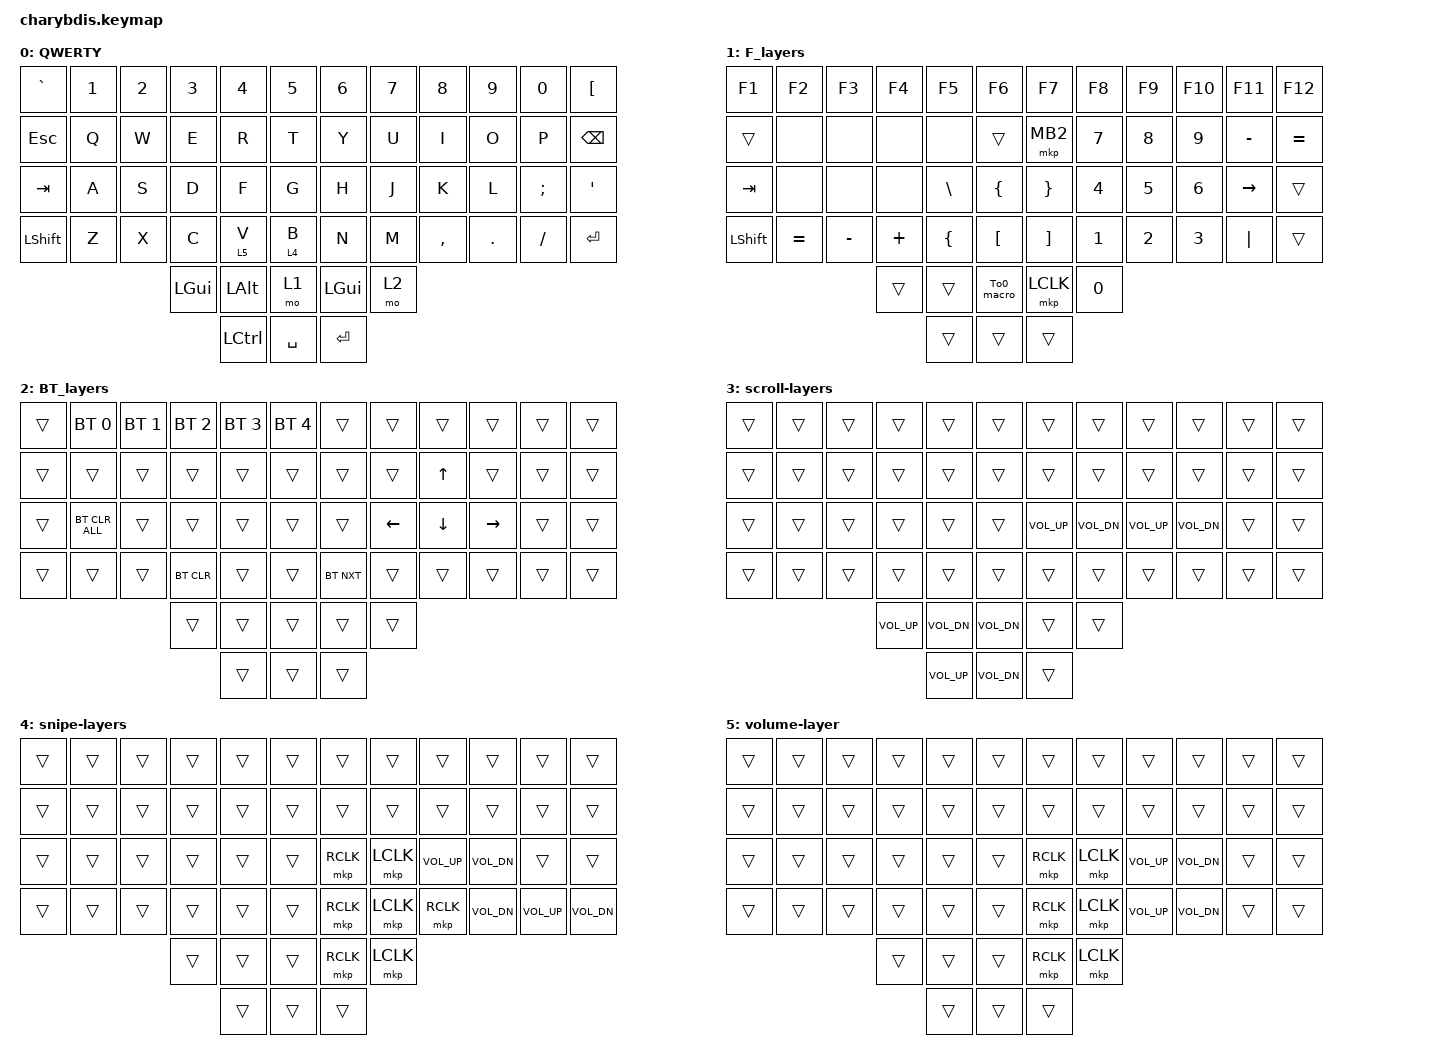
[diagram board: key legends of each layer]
#include <behaviors.dtsi>
#include <dt-bindings/zmk/bt.h>
#include <dt-bindings/zmk/keys.h>
#include <dt-bindings/zmk/pointing.h>
#include <dt-bindings/zmk/rgb.h>

&lt {
    tapping-term-ms = <200>;
    flavor = "balanced";
    quick-tap-ms = <150>;
};

/ {
    macros {
        To1_macro: To1_macro {
            compatible = "zmk,behavior-macro";
            label = "To1_macro";
            #binding-cells = <0>;
            bindings = <&rgb_ug RGB_EFF &rgb_ug RGB_COLOR_HSB(128,100,50) &to 1>;
        };

        To0_macro: To0_macro {
            compatible = "zmk,behavior-macro";
            label = "To0_macro";
            #binding-cells = <0>;
            bindings = <&rgb_ug RGB_EFR &to 0>;
        };

        To2_macro: To2_macro {
            compatible = "zmk,behavior-macro";
            label = "To2_macro";
            #binding-cells = <0>;
            bindings =
                <&to 2>,
                <&macro_wait_time 30>,
                <&rgb_ug RGB_COLOR_HSB(250,100,50)>;
        };
    };

    keymap {
        compatible = "zmk,keymap";

        QWERTY {
            bindings = <
&kp GRAVE       &kp N1  &kp N2  &kp N3        &kp N4            &kp N5       &kp N6        &kp N7  &kp N8     &kp N9   &kp N0    &kp LEFT_BRACKET
&kp ESC         &kp Q   &kp W   &kp E         &kp R             &kp T        &kp Y         &kp U   &kp I      &kp O    &kp P     &kp BACKSPACE
&kp TAB         &kp A   &kp S   &kp D         &kp F             &kp G        &kp H         &kp J   &kp K      &kp L    &kp SEMI  &kp SQT
&kp LEFT_SHIFT  &kp Z   &kp X   &kp C         &lt 5 V           &lt 4 B      &kp N         &kp M   &kp COMMA  &kp DOT  &kp FSLH  &kp ENTER
                                &kp LEFT_GUI  &kp LALT          &mo 1        &kp LEFT_GUI  &mo 2
                                              &kp LEFT_CONTROL  &kp SPACE    &kp ENTER
            >;
        };

        F_layers {
            bindings = <
&kp F1     &kp F2     &kp F3     &kp F4    &kp F5          &kp F6              &kp F7             &kp F8        &kp F9        &kp F10       &kp F11    &kp F12
&trans     &none      &none      &none     &none           &trans              &mkp MB2           &kp NUMBER_7  &kp NUMBER_8  &kp NUMBER_9  &kp MINUS  &kp EQUAL
&kp TAB    &none      &none      &none     &kp BACKSLASH   &kp LEFT_BRACE      &kp RIGHT_BRACE    &kp NUMBER_4  &kp NUMBER_5  &kp NUMBER_6  &kp RIGHT  &trans
&kp LSHFT  &kp EQUAL  &kp MINUS  &kp PLUS  &kp LEFT_BRACE  &kp LEFT_BRACKET    &kp RIGHT_BRACKET  &kp NUMBER_1  &kp NUMBER_2  &kp NUMBER_3  &kp PIPE   &trans
                                 &trans    &trans          &To0_macro          &mkp LCLK          &kp NUMBER_0
                                           &trans          &trans              &trans
            >;
        };

        BT_layers {
            bindings = <
&trans  &bt BT_SEL 0    &bt BT_SEL 1  &bt BT_SEL 2  &bt BT_SEL 3  &bt BT_SEL 4    &trans      &trans          &trans          &trans           &trans  &trans
&trans  &trans          &trans        &trans        &trans        &trans          &trans      &trans          &kp UP_ARROW    &trans           &trans  &trans
&trans  &bt BT_CLR_ALL  &trans        &trans        &trans        &trans          &trans      &kp LEFT_ARROW  &kp DOWN_ARROW  &kp RIGHT_ARROW  &trans  &trans
&trans  &trans          &trans        &bt BT_CLR    &trans        &trans          &bt BT_NXT  &trans          &trans          &trans           &trans  &trans
                                      &trans        &trans        &trans          &trans      &trans
                                                    &trans        &trans          &trans
            >;
        };

        scroll-layers {
            bindings = <
&trans  &trans  &trans  &trans        &trans        &trans          &trans        &trans        &trans        &trans        &trans  &trans
&trans  &trans  &trans  &trans        &trans        &trans          &trans        &trans        &trans        &trans        &trans  &trans
&trans  &trans  &trans  &trans        &trans        &trans          &kp C_VOL_UP  &kp C_VOL_DN  &kp C_VOL_UP  &kp C_VOL_DN  &trans  &trans
&trans  &trans  &trans  &trans        &trans        &trans          &trans        &trans        &trans        &trans        &trans  &trans
                        &kp C_VOL_UP  &kp C_VOL_DN  &kp C_VOL_DN    &trans        &trans
                                      &kp C_VOL_UP  &kp C_VOL_DN    &trans
            >;
        };

        snipe-layers {
            bindings = <
&trans  &trans  &trans  &trans  &trans  &trans    &trans     &trans     &trans        &trans        &trans        &trans
&trans  &trans  &trans  &trans  &trans  &trans    &trans     &trans     &trans        &trans        &trans        &trans
&trans  &trans  &trans  &trans  &trans  &trans    &mkp RCLK  &mkp LCLK  &kp C_VOL_UP  &kp C_VOL_DN  &trans        &trans
&trans  &trans  &trans  &trans  &trans  &trans    &mkp RCLK  &mkp LCLK  &mkp RCLK     &kp C_VOL_DN  &kp C_VOL_UP  &kp C_VOL_DN
                        &trans  &trans  &trans    &mkp RCLK  &mkp LCLK
                                &trans  &trans    &trans
            >;
        };

        volume-layer {
            bindings = <
&trans  &trans  &trans  &trans  &trans  &trans    &trans     &trans     &trans        &trans        &trans  &trans
&trans  &trans  &trans  &trans  &trans  &trans    &trans     &trans     &trans        &trans        &trans  &trans
&trans  &trans  &trans  &trans  &trans  &trans    &mkp RCLK  &mkp LCLK  &kp C_VOL_UP  &kp C_VOL_DN  &trans  &trans
&trans  &trans  &trans  &trans  &trans  &trans    &mkp RCLK  &mkp LCLK  &kp C_VOL_UP  &kp C_VOL_DN  &trans  &trans
                        &trans  &trans  &trans    &mkp RCLK  &mkp LCLK
                                &trans  &trans    &trans
            >;
        };
    };
};
